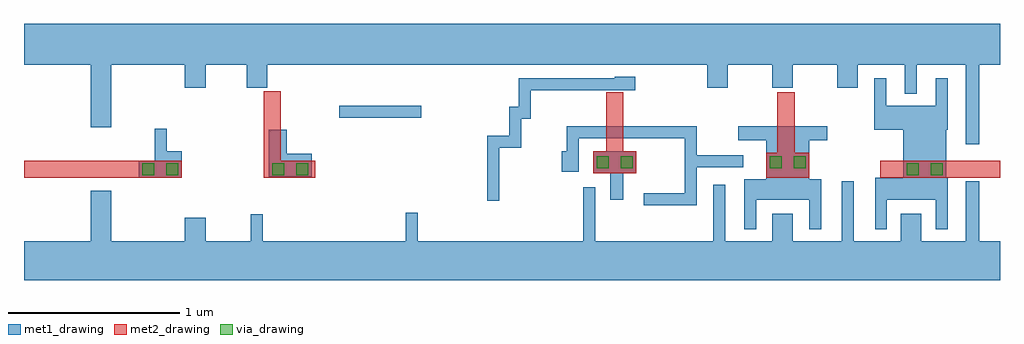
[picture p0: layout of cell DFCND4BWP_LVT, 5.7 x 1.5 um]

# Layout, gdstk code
import gdstk
lib = gdstk.Library(unit=1e-6, precision=1e-09)
def R(c, l, rs):  # rectangles x0, y0, x1, y1
    for r in rs: c.add(gdstk.rectangle(r[:2], r[2:], *l))
def P(c, l, *ps):  # polygons
    for p in ps: c.add(gdstk.Polygon(p, *l))
met1_drawing = (31, 0)
met2_drawing = (32, 0)
via_drawing = (51, 0)

dfcnd4bwp_lvt = lib.new_cell('DFCND4BWP_LVT')
R(dfcnd4bwp_lvt, met1_drawing, [(0.62,0.55,0.87,0.65), (3.45,0.575,3.525,0.705), (1.79,0.9,2.27,0.97)])
P(dfcnd4bwp_lvt, met1_drawing, [(3.375,0.42),(3.375,0.575),(3.275,0.575),(3.275,0.705),(3.45,0.705),(3.45,0.42)],
  [(0.68,-0.05),(0.68,0.18),(0.89,0.18),(0.89,0.315),(1.01,0.315),(1.01,0.18),(1.275,0.18),(1.275,0.335),(1.345,0.335),(1.345,0.18),(2.18,0.18),(2.18,0.345),(2.25,0.345),(2.25,0.18),(3.215,0.18),(3.215,0.495),(3.285,0.495),(3.285,0.18),(3.975,0.18),(3.975,0.51),(4.045,0.51),(4.045,0.18),(4.32,0.18),(4.32,0.34),(4.44,0.34),(4.44,0.18),(4.725,0.18),(4.725,0.53),(4.795,0.53),(4.795,0.18),(5.07,0.18),(5.07,0.34),(5.19,0.34),(5.19,0.18),(5.45,0.18),(5.45,0.53),(5.53,0.53),(5.53,0.18),(5.65,0.18),(5.65,-0.05)],
  [(5.45,0.745),(5.45,1.21),(5.165,1.21),(5.165,1.04),(5.095,1.04),(5.095,1.21),(4.82,1.21),(4.82,1.075),(4.7,1.075),(4.7,1.21),(4.44,1.21),(4.44,1.075),(4.32,1.075),(4.32,1.21),(4.06,1.21),(4.06,1.075),(3.94,1.075),(3.94,1.21),(1.37,1.21),(1.37,1.075),(1.25,1.075),(1.25,1.21),(1.01,1.21),(1.01,1.075),(0.89,1.075),(0.89,1.21),(0.68,1.21),(0.68,1.45),(5.65,1.45),(5.65,1.21),(5.53,1.21),(5.53,0.745)],
  [(4.92,0.25),(4.92,0.55),(5.085,0.55),(5.085,0.83),(4.915,0.83),(4.915,1.13),(4.985,1.13),(4.985,0.97),(5.275,0.97),(5.275,1.13),(5.345,1.13),(5.345,0.83),(5.335,0.83),(5.335,0.55),(5.345,0.55),(5.345,0.25),(5.275,0.25),(5.275,0.42),(4.99,0.42),(4.99,0.25)],
  [(2.655,0.415),(2.655,0.795),(2.785,0.795),(2.785,0.965),(2.84,0.965),(2.84,1.13),(3.4,1.13),(3.4,1.14),(3.52,1.14),(3.52,1.06),(2.91,1.06),(2.91,0.895),(2.855,0.895),(2.855,0.725),(2.725,0.725),(2.725,0.415)],
  [(4.155,0.25),(4.155,0.54),(4.285,0.54),(4.285,0.77),(4.12,0.77),(4.12,0.85),(4.64,0.85),(4.64,0.77),(4.535,0.77),(4.535,0.54),(4.605,0.54),(4.605,0.25),(4.535,0.25),(4.535,0.42),(4.225,0.42),(4.225,0.25)],
  [(3.57,0.39),(3.57,0.46),(3.81,0.46),(3.81,0.78),(3.19,0.78),(3.19,0.585),(3.09,0.585),(3.09,0.705),(3.12,0.705),(3.12,0.85),(3.88,0.85),(3.88,0.68),(4.15,0.68),(4.15,0.61),(3.88,0.61),(3.88,0.39)],
  [(0.715,0.55),(0.715,0.835),(0.785,0.835),(0.785,0.705),(0.87,0.705),(0.87,0.55)],
  [(1.38,0.555),(1.38,0.83),(1.485,0.83),(1.485,0.69),(1.63,0.69),(1.63,0.555)],
  [(0.34,0.845),(0.34,1.21),(-0.05,1.21),(-0.05,1.45),(0.68,1.45),(0.68,1.21),(0.46,1.21),(0.46,0.845)],
  [(-0.05,-0.05),(-0.05,0.18),(0.34,0.18),(0.34,0.475),(0.46,0.475),(0.46,0.18),(0.68,0.18),(0.68,-0.05)])
R(dfcnd4bwp_lvt, met2_drawing, [(-0.05,0.55,0.87,0.65), (1.35,0.55,1.45,1.055), (1.35,0.55,1.65,0.65), (4.285,0.55,4.535,0.695), (4.35,0.55,4.45,1.05), (4.95,0.55,5.65,0.65), (3.275,0.575,3.525,0.705), (3.35,0.575,3.45,1.05)])
R(dfcnd4bwp_lvt, via_drawing, [(0.64,0.565,0.71,0.635), (0.78,0.565,0.85,0.635), (1.4,0.565,1.47,0.635), (1.54,0.565,1.61,0.635), (5.105,0.565,5.175,0.635), (5.245,0.565,5.315,0.635), (3.295,0.605,3.365,0.675), (3.435,0.605,3.505,0.675), (4.305,0.605,4.375,0.675), (4.445,0.605,4.515,0.675)])

lib.write_gds('DFCND4BWP_LVT.gds')
